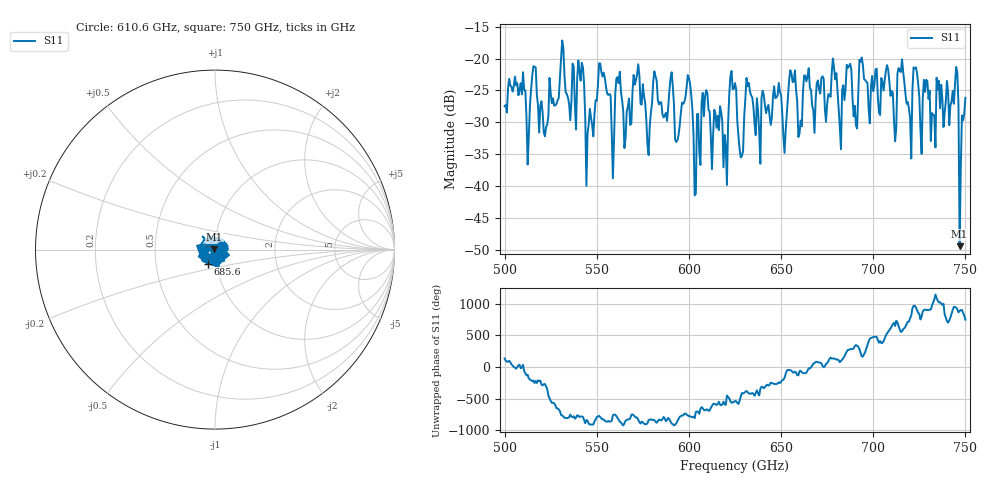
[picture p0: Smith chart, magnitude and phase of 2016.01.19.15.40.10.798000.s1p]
!Created with skrf (http://scikit-rf.org).
# GHz S RI R 50.0
!freq ReS11 ImS11
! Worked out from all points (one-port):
!   401 points, 500 GHz to 750 GHz, reference 50 ohm
!   lowest |S11| = -49.5 dB at 746.9 GHz (marker M1), VSWR 1.01, Z = 49.7 + j0.1 ohm
!   |S11| at or under -10 dB: start of sweep to end of sweep
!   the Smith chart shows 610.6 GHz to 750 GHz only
!   S11 on the Smith chart (normalised r, x): 610.6 GHz: 1.07, +0.04; 685.6 GHz: 0.91, -0.15; 750 GHz: 1.09, +0.04
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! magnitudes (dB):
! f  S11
! 500 GHz  -27.5
! 513.1 GHz  -32.3
! 515.6 GHz  -21.2
! 522.5 GHz  -30.7
! 531.2 GHz  -17.2
! 541.2 GHz  -23.5
! 545 GHz  -31.8
! 552.5 GHz  -22.1
! 558.1 GHz  -31.7
! 562.5 GHz  -22.1
! 578.1 GHz  -35.1
! 590.6 GHz  -22.1
! 593.8 GHz  -32.8
! 599.4 GHz  -22.6
! 610.6 GHz  -28.0
! 620 GHz  -33.7
! 625 GHz  -23.8
! 628.1 GHz  -35.5
! 631.9 GHz  -24.3
! 651.9 GHz  -34.8
! 656.2 GHz  -23.7
! 660 GHz  -31.8
! 685.6 GHz  -21.0
! 687.5 GHz  -20.8
! 718.8 GHz  -26.9
! 744.4 GHz  -24.0
! 746.9 GHz  -49.5
! 750 GHz  -26.2
